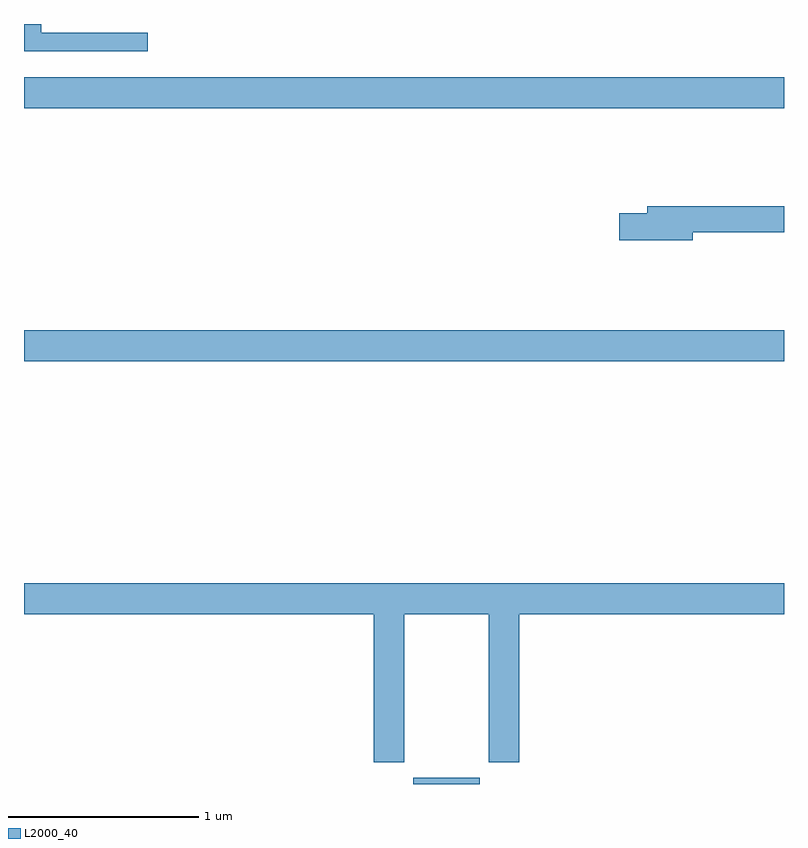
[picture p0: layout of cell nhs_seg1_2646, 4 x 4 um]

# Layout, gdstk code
import gdstk
lib = gdstk.Library(unit=1e-6, precision=1e-09)
def R(c, l, rs):  # rectangles x0, y0, x1, y1
    for r in rs: c.add(gdstk.rectangle(r[:2], r[2:], *l))
def P(c, l, *ps):  # polygons
    for p in ps: c.add(gdstk.Polygon(p, *l))
L2000_40 = (2000, 40)

nhs_seg1_2646 = lib.new_cell('nhs_seg1_2646')
R(nhs_seg1_2646, L2000_40, [(257.048,524.199,257.398,524.233), (255,526.424,259,526.588), (255,527.756,259,527.92)])
P(nhs_seg1_2646, L2000_40, [(255.652,528.153),(255.091,528.153),(255.091,528.199),(255,528.199),(255,528.056),(255.652,528.056)],
  [(258.52,527.104),(259,527.104),(259,527.24),(258.281,527.24),(258.281,527.204),(258.132,527.204),(258.132,527.062),(258.52,527.062)],
  [(257.001,525.092),(257.446,525.092),(257.446,524.313),(257.606,524.313),(257.606,525.092),(259,525.092),(259,525.256),(255,525.256),(255,525.092),(256.841,525.092),(256.841,524.313),(257.001,524.313)])

lib.write_gds('nhs_seg1_2646.gds')
